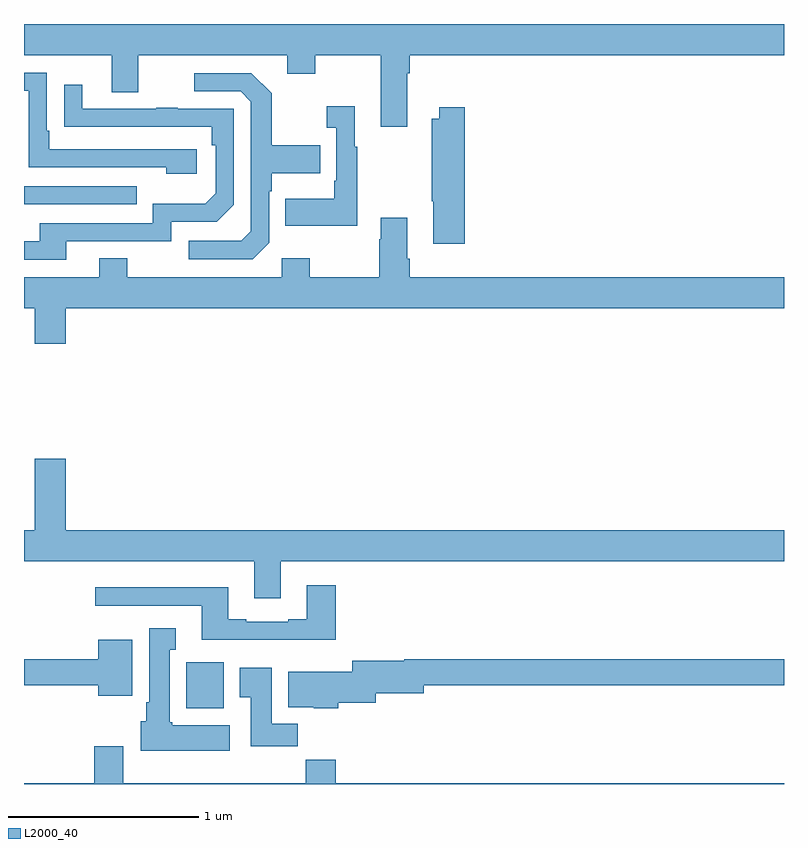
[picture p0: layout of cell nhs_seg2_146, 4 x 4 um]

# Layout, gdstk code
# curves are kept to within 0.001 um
import gdstk
lib = gdstk.Library(unit=1e-6, precision=1e-09)
def R(c, l, rs):  # rectangles x0, y0, x1, y1
    for r in rs: c.add(gdstk.rectangle(r[:2], r[2:], *l))
def P(c, l, *ps):  # polygons
    for p in ps: c.add(gdstk.Polygon(p, *l))
L2000_40 = (2000, 40)

nhs_seg2_146 = lib.new_cell('nhs_seg2_146')
R(nhs_seg2_146, L2000_40, [(117.854,644.198,118.051,644.44), (117,646.851,117.593,646.947)])
P(nhs_seg2_146, L2000_40, [(119.017,647.54),(119.03,647.54),(119.03,647.636),(121,647.636),(121,647.8),(117,647.8),(117,647.636),(117.461,647.636),(117.461,647.442),(117.601,647.442),(117.601,647.636),(118.385,647.636),(118.385,647.537),(118.533,647.537),(118.533,647.636),(118.877,647.636),(118.877,647.259),(119.017,647.259)],
  [(117.91,647.142),(117.133,647.142),(117.133,647.239),(117.12,647.239),(117.12,647.544),(117,647.544),(117,647.448),(117.024,647.448),(117.024,647.046),(117.749,647.046),(117.749,647.012),(117.91,647.012)],
  [(118.29,646.65),(118.29,646.919),(118.303,646.919),(118.303,647.015),(118.559,647.015),(118.559,647.163),(118.303,647.163),(118.303,647.435),(118.197,647.541),(117.897,647.541),(117.897,647.445),(118.14,647.445),(118.194,647.391),(118.194,646.71),(118.143,646.659),(117.867,646.659),(117.867,646.563),(118.203,646.563)],
  [(117.223,646.656),(117.774,646.656),(117.774,646.758),(118.014,646.758),(118.104,646.848),(118.104,647.355),(117.809,647.355),(117.809,647.36),(117.697,647.36),(117.697,647.355),(117.307,647.355),(117.307,647.479),(117.211,647.479),(117.211,647.26),(117.988,647.259),(117.988,647.162),(118.008,647.162),(118.008,646.908),(117.955,646.855),(117.678,646.855),(117.678,646.752),(117.083,646.752),(117.083,646.656),(117,646.656),(117,646.56),(117.223,646.56)],
  [(118.753,647.155),(118.741,647.155),(118.741,647.368),(118.593,647.368),(118.593,647.255),(118.644,647.255),(118.644,646.975),(118.632,646.975),(118.632,646.879),(118.375,646.879),(118.375,646.739),(118.753,646.739)],
  [(119.321,647.362),(119.186,647.362),(119.186,647.302),(119.146,647.302),(119.146,646.867),(119.153,646.867),(119.153,646.644),(119.321,646.644)],
  [(117.22,646.304),(121,646.304),(121,646.468),(119.03,646.468),(119.03,646.564),(119.017,646.564),(119.017,646.78),(118.877,646.78),(118.877,646.667),(118.87,646.667),(118.87,646.468),(118.503,646.468),(118.503,646.567),(118.356,646.567),(118.356,646.468),(117.543,646.468),(117.543,646.567),(117.395,646.567),(117.395,646.468),(117,646.468),(117,646.304),(117.056,646.304),(117.056,646.116),(117.22,646.116)],
  [(118.351,644.972),(121,644.972),(121,645.136),(117.22,645.136),(117.22,645.511),(117.056,645.511),(117.056,645.136),(117,645.136),(117,644.972),(118.211,644.972),(118.211,644.778),(118.351,644.778)],
  [(118.64,644.845),(118.487,644.845),(118.487,644.668),(118.391,644.668),(118.391,644.655),(118.171,644.655),(118.171,644.668),(118.075,644.668),(118.075,644.836),(117.375,644.836),(117.375,644.739),(117.935,644.739),(117.935,644.558),(118.64,644.558)],
  [(118.084,644.11),(117.78,644.11),(117.78,644.124),(117.766,644.124),(117.766,644.507),(117.799,644.507),(117.799,644.62),(117.659,644.62),(117.659,644.23),(117.644,644.23),(117.644,644.13),(117.614,644.13),(117.614,643.976),(118.084,643.976)],
  [(117.571,644.56),(117.392,644.56),(117.392,644.456),(117,644.456),(117,644.32),(117.392,644.32),(117.392,644.264),(117.571,644.264)],
  [(118.655,644.228),(118.852,644.228),(118.852,644.278),(119.104,644.278),(119.104,644.32),(121,644.32),(121,644.456),(119,644.456),(119,644.45),(118.728,644.45),(118.728,644.392),(118.391,644.392),(118.391,644.204),(118.524,644.204),(118.524,644.198),(118.655,644.198)],
  [(118.442,644.116),(118.303,644.116),(118.303,644.413),(118.136,644.413),(118.136,644.257),(118.193,644.257),(118.193,643.998),(118.442,643.998)],
  [(121,643.804),(118.64,643.804),(118.64,643.928),(118.483,643.928),(118.483,643.804),(117.523,643.804),(117.523,643.999),(117.371,643.999),(117.371,643.804),(117,643.804),(117,643.8),(121,643.8)])

lib.write_gds('nhs_seg2_146.gds')
